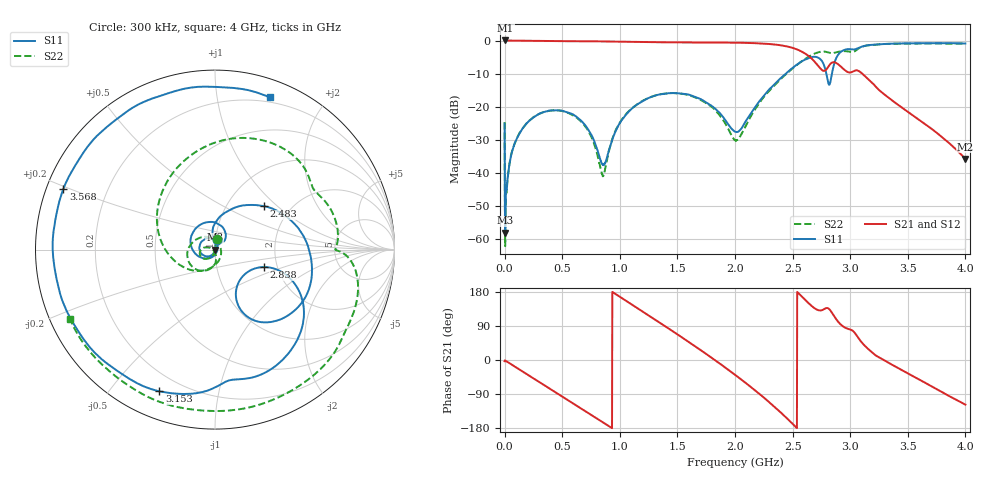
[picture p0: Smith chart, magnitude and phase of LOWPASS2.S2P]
!Agilent Technologies,E5071C,MY46106184,A.09.10
!Date: Mon Jan 01 00:19:44 2001
!Data & Calibration Information:
!Freq	S11:SOLT2(ON)	S21:SOLT2(ON)	S12:SOLT2(ON)	S22:SOLT2(ON)
# Hz S dB R 50
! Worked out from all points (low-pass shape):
!   1601 points, 300 kHz to 4 GHz, reference 50 ohm
!   highest |S21| = 0.02 dB at 5.3 MHz (marker M1); lowest = -35.8 dB at 4 GHz (marker M2)
!   |S21| within 3 dB of the highest: start of sweep to 2.558 GHz
!   lowest |S11| = -58.0 dB at 5.3 MHz (marker M3), VSWR 1.00, Z = 49.9 - j0.0204 ohm
!   |S11| at or under -10 dB: start of sweep to 2.442 GHz; 2.793 GHz to 2.842 GHz (48.52 MHz wide, 1.72 % of centre)
!   |S22| runs from -62.1 to -0.9 dB; largest |S21 - S12| = 0.002
!   S11 on the Smith chart (normalised r, x): 300 kHz: 1.01, +0.11; 2.483 GHz: 1.48, +0.83; 2.838 GHz: 1.70, -0.36; 3.153 GHz: 0.12, -0.68; 3.568 GHz: 0.05, +0.19; 4 GHz: 0.16, +1.41
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300000  -25.09 81.3  -0.07 -3.3  -0.07 -3.3  -24.60 80.6
5299625  -58.00 -170.7  0.02 -1.3  0.02 -1.2  -62.06 176.9
2.279831e7  -43.13 -105.0  -0.00 -4.5  -0.00 -4.5  -43.09 -98.1
9.279306e7  -30.60 -116.0  -0.04 -18.2  -0.04 -18.2  -30.63 -107.4
2.702798e8  -22.73 -155.4  -0.12 -52.2  -0.12 -52.3  -22.67 -134.9
6.677499e8  -24.34 105.6  -0.22 -128.4  -0.22 -128.4  -24.65 168.6
8.552359e8  -37.61 -8.6  -0.26 -164.7  -0.26 -164.7  -40.76 -139.2
1.022723e9  -23.74 -130.7  -0.33 162.4  -0.33 162.4  -23.58 -85.9
1.3352e9  -16.37 150.3  -0.51 100.7  -0.51 100.7  -16.35 -133.7
1.715171e9  -17.93 67.8  -0.60 23.4  -0.60 23.4  -18.19 155.3
2.00015e9  -27.47 64.0  -0.65 -38.9  -0.65 -39.0  -30.06 31.7
2.242632e9  -17.01 91.3  -0.92 -97.2  -0.91 -97.2  -17.37 -120.1
2.482614e9  -8.74 41.5  -2.05 -163.2  -2.04 -163.2  -8.93 154.6
2.6676e9  -4.99 -18.1  -5.52 142.0  -5.50 141.9  -4.34 87.0
2.755093e9  -6.21 -55.9  -8.90 131.5  -8.88 131.4  -3.34 54.7
2.837587e9  -10.75 -19.6  -6.76 126.7  -6.74 126.6  -3.82 32.1
2.915081e9  -3.53 -44.6  -7.76 94.5  -7.73 94.4  -3.28 17.6
3.152564e9  -1.43 -111.4  -11.52 30.1  -11.51 29.9  -1.47 -21.9
3.33505e9  -1.00 -153.7  -17.31 -7.6  -17.30 -7.9  -1.00 -53.9
3.567532e9  -0.82 158.3  -23.17 -46.4  -23.16 -46.7  -0.92 -88.4
3.790016e9  -0.80 113.5  -28.93 -83.5  -28.94 -83.8  -0.93 -120.7
4e9  -0.90 70.2  -35.76 -117.8  -35.77 -118.1  -0.96 -154.6
